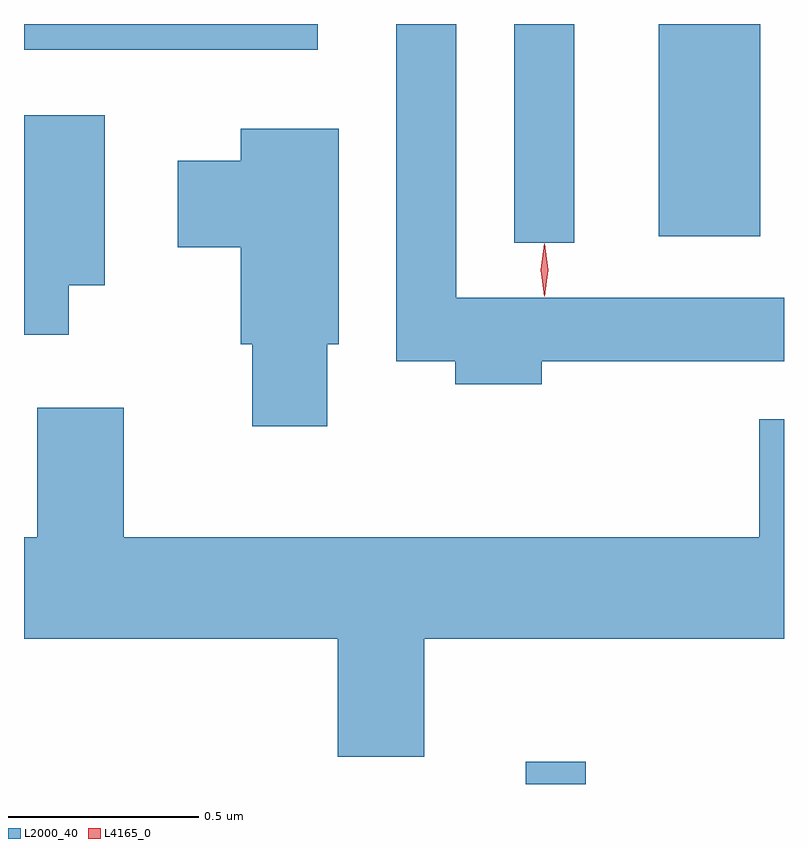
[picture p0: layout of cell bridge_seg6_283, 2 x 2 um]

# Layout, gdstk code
import gdstk
lib = gdstk.Library(unit=1e-6, precision=1e-09)
def R(c, l, rs):  # rectangles x0, y0, x1, y1
    for r in rs: c.add(gdstk.rectangle(r[:2], r[2:], *l))
def P(c, l, *ps):  # polygons
    for p in ps: c.add(gdstk.Polygon(p, *l))
L2000_40 = (2000, 40)
L4165_0 = (4165, 0)

bridge_seg6_283 = lib.new_cell('bridge_seg6_283')
R(bridge_seg6_283, L2000_40, [(1261.636,1556.314,1261.794,1556.373), (1261.606,1557.738,1261.764,1558.314), (1261.986,1557.756,1262.254,1558.314), (1260.316,1558.246,1261.089,1558.314)])
P(bridge_seg6_283, L2000_40, [(1261.679,1557.426),(1262.316,1557.426),(1262.316,1557.594),(1261.454,1557.594),(1261.454,1558.314),(1261.296,1558.314),(1261.296,1557.426),(1261.451,1557.426),(1261.451,1557.366),(1261.679,1557.366)],
  [(1260.434,1557.626),(1260.529,1557.626),(1260.529,1558.074),(1260.316,1558.074),(1260.316,1557.496),(1260.434,1557.496)],
  [(1261.114,1557.471),(1261.144,1557.471),(1261.144,1558.039),(1260.886,1558.039),(1260.886,1557.954),(1260.721,1557.954),(1260.721,1557.726),(1260.886,1557.726),(1260.886,1557.471),(1260.916,1557.471),(1260.916,1557.256),(1261.114,1557.256)],
  [(1261.369,1556.696),(1262.316,1556.696),(1262.316,1557.274),(1262.251,1557.274),(1262.251,1556.964),(1260.579,1556.964),(1260.579,1557.304),(1260.351,1557.304),(1260.351,1556.964),(1260.316,1556.964),(1260.316,1556.696),(1261.141,1556.696),(1261.141,1556.386),(1261.369,1556.386)])
P(bridge_seg6_283, L4165_0, [(1261.686,1557.597),(1261.685,1557.598),(1261.676,1557.667),(1261.685,1557.736),(1261.686,1557.736),(1261.686,1557.736),(1261.696,1557.667),(1261.686,1557.598)],
  [(1261.686,1557.599),(1261.686,1557.6),(1261.676,1557.666),(1261.686,1557.732),(1261.686,1557.733),(1261.686,1557.732),(1261.696,1557.666),(1261.687,1557.6)])

lib.write_gds('bridge_seg6_283.gds')
